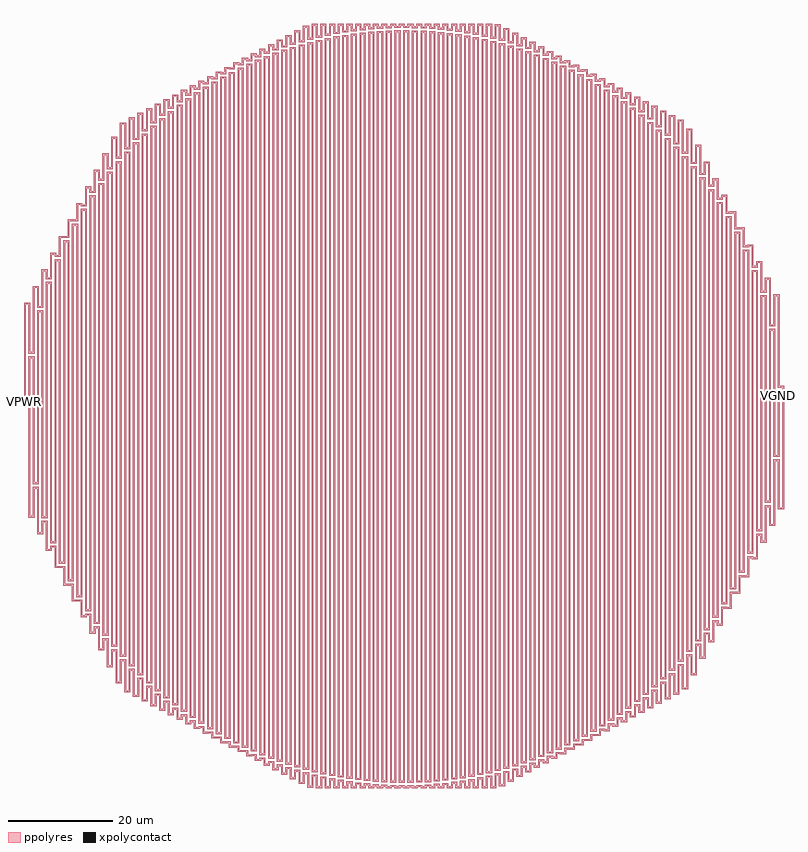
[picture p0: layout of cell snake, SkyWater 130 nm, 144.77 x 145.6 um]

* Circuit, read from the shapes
.subckt snake VPWR VGND VOUT
XR1 VOUT VPWR VSUBS sky130_fd_pr__res_high_po w=0.35 l=1043.77
XR2 VGND VOUT VSUBS sky130_fd_pr__res_high_po w=0.35 l=19520.335
.ends

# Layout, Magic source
magic
tech sky130A
magscale 1 2
<< xpolycontact >>
rect 59 22541 129 22973
rect 225 22541 295 22973
rect 28777 22772 28847 23204
<< ppolyres >>
rect 11015 37088 11251 37158
rect 10683 37010 10919 37080
rect 10351 36836 10587 36906
rect 10019 36661 10255 36731
rect 9687 36487 9923 36557
rect 9355 36313 9591 36383
rect 9023 36138 9259 36208
rect 8691 35964 8927 36034
rect 8359 35808 8595 35860
rect 8691 35808 8761 35964
rect 8857 35953 8927 35964
rect 9023 35953 9093 36138
rect 9189 36087 9259 36138
rect 9355 36087 9425 36313
rect 9521 36213 9591 36313
rect 9687 36213 9757 36487
rect 9853 36329 9923 36487
rect 10019 36329 10089 36661
rect 10185 36436 10255 36661
rect 10351 36436 10421 36836
rect 10517 36534 10587 36836
rect 10683 36534 10753 37010
rect 10849 36623 10919 37010
rect 11015 36623 11085 37088
rect 11181 36704 11251 37088
rect 11347 37088 11583 37158
rect 11347 36704 11417 37088
rect 11513 36777 11583 37088
rect 11679 37088 11915 37158
rect 11679 36777 11749 37088
rect 11513 36707 11749 36777
rect 11845 36842 11915 37088
rect 12011 37088 12247 37158
rect 12011 36842 12081 37088
rect 11845 36772 12081 36842
rect 12177 36898 12247 37088
rect 12343 37088 12579 37158
rect 12343 36898 12413 37088
rect 12177 36828 12413 36898
rect 12509 36947 12579 37088
rect 12675 37088 12911 37158
rect 12675 36947 12745 37088
rect 12509 36877 12745 36947
rect 12841 36987 12911 37088
rect 13007 37088 13243 37158
rect 13007 36987 13077 37088
rect 12841 36917 13077 36987
rect 13173 37020 13243 37088
rect 13339 37088 13575 37158
rect 13339 37020 13409 37088
rect 13173 36950 13409 37020
rect 13505 37045 13575 37088
rect 13671 37088 13907 37158
rect 13671 37045 13741 37088
rect 13505 36975 13741 37045
rect 13837 37063 13907 37088
rect 14003 37088 14239 37158
rect 14003 37063 14073 37088
rect 13837 36993 14073 37063
rect 14169 37072 14239 37088
rect 14335 37088 14571 37158
rect 14335 37072 14405 37088
rect 14169 37002 14405 37072
rect 14501 37074 14571 37088
rect 14667 37088 14903 37158
rect 14667 37074 14737 37088
rect 14501 37004 14737 37074
rect 14833 37068 14903 37088
rect 14999 37088 15235 37158
rect 14999 37068 15069 37088
rect 14833 36998 15069 37068
rect 15165 37055 15235 37088
rect 15331 37088 15567 37158
rect 15331 37055 15401 37088
rect 15165 36985 15401 37055
rect 15497 37034 15567 37088
rect 15663 37088 15899 37158
rect 15663 37034 15733 37088
rect 15497 36964 15733 37034
rect 15829 37005 15899 37088
rect 15995 37088 16231 37158
rect 15995 37005 16065 37088
rect 15829 36935 16065 37005
rect 16161 36968 16231 37088
rect 16327 37088 16563 37158
rect 16327 36968 16397 37088
rect 11181 36634 11417 36704
rect 10849 36553 11085 36623
rect 11513 36541 11749 36611
rect 10517 36464 10753 36534
rect 11181 36468 11417 36538
rect 10185 36366 10421 36436
rect 10849 36387 11085 36457
rect 9853 36259 10089 36329
rect 10517 36298 10753 36368
rect 9521 36143 9757 36213
rect 10185 36200 10421 36270
rect 9189 36017 9425 36087
rect 9853 36093 10089 36163
rect 8857 35883 9093 35953
rect 9521 35977 9757 36047
rect 8359 35790 8761 35808
rect 8027 35653 8263 35686
rect 8359 35653 8429 35790
rect 8525 35738 8761 35790
rect 9189 35851 9425 35921
rect 8027 35616 8429 35653
rect 8857 35717 9093 35787
rect 7695 35488 7931 35511
rect 8027 35488 8097 35616
rect 8193 35583 8429 35616
rect 7695 35441 8097 35488
rect 8525 35572 8761 35642
rect 7363 35312 7599 35337
rect 7695 35312 7765 35441
rect 7861 35418 8097 35441
rect 8193 35417 8429 35487
rect 7363 35267 7765 35312
rect 7031 35124 7267 35163
rect 7363 35124 7433 35267
rect 7529 35242 7765 35267
rect 7861 35252 8097 35322
rect 7031 35093 7433 35124
rect 6699 34925 6935 34988
rect 7031 34925 7101 35093
rect 7197 35054 7433 35093
rect 7529 35076 7765 35146
rect 6699 34918 7101 34925
rect 6367 34744 6603 34814
rect 6035 34570 6271 34640
rect 5703 34395 5939 34465
rect 5371 34221 5607 34291
rect 5039 34047 5275 34117
rect 4707 33873 4943 33943
rect 4375 33698 4611 33768
rect 4043 33524 4279 33594
rect 3711 33323 3947 33393
rect 3379 32789 3615 32859
rect 3047 32157 3283 32227
rect 2715 31525 2951 31595
rect 2383 30892 2619 30962
rect 2051 30272 2287 30330
rect 2383 30272 2453 30892
rect 2549 30785 2619 30892
rect 2715 30785 2785 31525
rect 2881 31254 2951 31525
rect 3047 31254 3117 32157
rect 3213 31686 3283 32157
rect 3379 31686 3449 32789
rect 3545 32086 3615 32789
rect 3711 32086 3781 33323
rect 3877 32459 3947 33323
rect 4043 32459 4113 33524
rect 4209 32807 4279 33524
rect 4375 32807 4445 33698
rect 4541 33132 4611 33698
rect 4707 33132 4777 33873
rect 4873 33438 4943 33873
rect 5039 33438 5109 34047
rect 5205 33725 5275 34047
rect 5371 33725 5441 34221
rect 5537 33994 5607 34221
rect 5703 33994 5773 34395
rect 5869 34248 5939 34395
rect 6035 34248 6105 34570
rect 6201 34488 6271 34570
rect 6367 34488 6437 34744
rect 6533 34713 6603 34744
rect 6699 34713 6769 34918
rect 6865 34855 7101 34918
rect 7197 34888 7433 34958
rect 6533 34643 6769 34713
rect 6865 34689 7101 34759
rect 6201 34418 6437 34488
rect 6533 34477 6769 34547
rect 5869 34178 6105 34248
rect 6201 34252 6437 34322
rect 5537 33924 5773 33994
rect 5869 34012 6105 34082
rect 5205 33655 5441 33725
rect 5537 33758 5773 33828
rect 4873 33368 5109 33438
rect 5205 33489 5441 33559
rect 4541 33062 4777 33132
rect 4873 33202 5109 33272
rect 4209 32737 4445 32807
rect 4541 32896 4777 32966
rect 3877 32389 4113 32459
rect 4209 32571 4445 32641
rect 3545 32016 3781 32086
rect 3877 32223 4113 32293
rect 3213 31616 3449 31686
rect 3545 31850 3781 31920
rect 2881 31184 3117 31254
rect 3213 31450 3449 31520
rect 2549 30715 2785 30785
rect 2881 31018 3117 31088
rect 2051 30260 2453 30272
rect 2051 29706 2121 30260
rect 2217 30202 2453 30260
rect 2549 30549 2785 30619
rect 1719 29636 2121 29706
rect 2217 30036 2453 30106
rect 1719 29073 1789 29636
rect 1387 29003 1789 29073
rect 1885 29470 2121 29540
rect 1055 28363 1291 28433
rect 723 27730 959 27800
rect 391 27098 627 27168
rect 59 26466 295 26536
rect 59 22973 129 26466
rect 225 24658 295 26466
rect 391 24658 461 27098
rect 557 26407 627 27098
rect 723 26407 793 27730
rect 889 27491 959 27730
rect 1055 27491 1125 28363
rect 1221 28348 1291 28363
rect 1387 28348 1457 29003
rect 1221 28278 1457 28348
rect 1553 28837 1789 28907
rect 889 27421 1125 27491
rect 1221 28112 1457 28182
rect 557 26337 793 26407
rect 889 27255 1125 27325
rect 225 24588 461 24658
rect 557 26171 793 26241
rect 225 24422 461 24492
rect 225 22973 295 24422
rect 225 18414 295 22541
rect 391 19689 461 24422
rect 557 19689 627 26171
rect 391 19619 627 19689
rect 391 19453 627 19523
rect 391 18414 461 19453
rect 225 18344 461 18414
rect 557 17782 627 19453
rect 723 18400 793 26171
rect 889 18400 959 27255
rect 723 18330 959 18400
rect 723 18164 959 18234
rect 723 17782 793 18164
rect 557 17712 793 17782
rect 889 17149 959 18164
rect 1055 17448 1125 27255
rect 1221 17448 1291 28112
rect 1055 17378 1291 17448
rect 1055 17212 1291 17282
rect 1055 17149 1125 17212
rect 889 17079 1125 17149
rect 1221 16498 1291 17212
rect 1387 16664 1457 28112
rect 1553 16664 1623 28837
rect 1387 16594 1623 16664
rect 1221 16428 1623 16498
rect 1553 15823 1623 16428
rect 1719 15989 1789 28837
rect 1885 15989 1955 29470
rect 1719 15919 1955 15989
rect 1553 15753 1955 15823
rect 1885 15225 1955 15753
rect 2051 15391 2121 29470
rect 2217 15391 2287 30036
rect 2051 15321 2287 15391
rect 1885 15155 2287 15225
rect 2217 14620 2287 15155
rect 2383 14853 2453 30036
rect 2549 14853 2619 30549
rect 2383 14783 2619 14853
rect 2383 14620 2619 14687
rect 2217 14617 2619 14620
rect 2217 14550 2453 14617
rect 2549 13988 2619 14617
rect 2715 14364 2785 30549
rect 2881 14364 2951 31018
rect 2715 14294 2951 14364
rect 2715 14128 2951 14198
rect 2715 13988 2785 14128
rect 2549 13918 2785 13988
rect 2881 13355 2951 14128
rect 3047 13914 3117 31018
rect 3213 13914 3283 31450
rect 3047 13844 3283 13914
rect 3047 13678 3283 13748
rect 3047 13355 3117 13678
rect 2881 13285 3117 13355
rect 3213 12723 3283 13678
rect 3379 13498 3449 31450
rect 3545 13498 3615 31850
rect 3379 13428 3615 13498
rect 3379 13262 3615 13332
rect 3379 12723 3449 13262
rect 3213 12653 3449 12723
rect 3545 12096 3615 13262
rect 3711 13112 3781 31850
rect 3877 13112 3947 32223
rect 3711 13042 3947 13112
rect 3711 12876 3947 12946
rect 3711 12096 3781 12876
rect 3545 12026 3781 12096
rect 3877 11759 3947 12876
rect 4043 12753 4113 32223
rect 4209 12753 4279 32571
rect 4043 12683 4279 12753
rect 4043 12517 4279 12587
rect 4043 11759 4113 12517
rect 3877 11689 4113 11759
rect 4209 11585 4279 12517
rect 4375 12416 4445 32571
rect 4541 12416 4611 32896
rect 4375 12346 4611 12416
rect 4375 12180 4611 12250
rect 4375 11585 4445 12180
rect 4209 11515 4445 11585
rect 4541 11411 4611 12180
rect 4707 12101 4777 32896
rect 4873 12101 4943 33202
rect 4707 12031 4943 12101
rect 4707 11865 4943 11935
rect 4707 11411 4777 11865
rect 4541 11341 4777 11411
rect 4873 11236 4943 11865
rect 5039 11805 5109 33202
rect 5205 11805 5275 33489
rect 5039 11735 5275 11805
rect 5039 11569 5275 11639
rect 5039 11236 5109 11569
rect 4873 11166 5109 11236
rect 5205 11062 5275 11569
rect 5371 11526 5441 33489
rect 5537 11526 5607 33758
rect 5371 11456 5607 11526
rect 5371 11290 5607 11360
rect 5371 11062 5441 11290
rect 5205 10992 5441 11062
rect 5537 10888 5607 11290
rect 5703 11265 5773 33758
rect 5869 11265 5939 34012
rect 5703 11195 5939 11265
rect 5703 11029 5939 11099
rect 5703 10888 5773 11029
rect 5537 10818 5773 10888
rect 5869 10713 5939 11029
rect 6035 11018 6105 34012
rect 6201 11018 6271 34252
rect 6035 10948 6271 11018
rect 6035 10782 6271 10852
rect 6035 10713 6105 10782
rect 5869 10643 6105 10713
rect 6201 10539 6271 10782
rect 6367 10786 6437 34252
rect 6533 10786 6603 34477
rect 6367 10716 6603 10786
rect 6367 10550 6603 10620
rect 6367 10539 6437 10550
rect 6201 10469 6437 10539
rect 6533 10365 6603 10550
rect 6699 10568 6769 34477
rect 6865 10568 6935 34689
rect 6699 10498 6935 10568
rect 6699 10365 6935 10402
rect 6533 10332 6935 10365
rect 6533 10295 6769 10332
rect 6865 10190 6935 10332
rect 7031 10362 7101 34689
rect 7197 10362 7267 34888
rect 7031 10292 7267 10362
rect 7031 10190 7267 10196
rect 6865 10126 7267 10190
rect 6865 10120 7101 10126
rect 7197 10002 7267 10126
rect 7363 10168 7433 34888
rect 7529 10168 7599 35076
rect 7363 10098 7599 10168
rect 7197 9932 7599 10002
rect 7529 9821 7599 9932
rect 7695 9987 7765 35076
rect 7861 9987 7931 35252
rect 7695 9917 7931 9987
rect 7529 9751 7931 9821
rect 7861 9650 7931 9751
rect 8027 9816 8097 35252
rect 8193 9816 8263 35417
rect 8027 9746 8263 9816
rect 8359 9656 8429 35417
rect 8525 9656 8595 35572
rect 7861 9580 8263 9650
rect 8359 9586 8595 9656
rect 8193 9490 8263 9580
rect 8691 9506 8761 35572
rect 8857 9506 8927 35717
rect 8193 9420 8595 9490
rect 8691 9436 8927 9506
rect 8525 9319 8595 9420
rect 9023 9367 9093 35717
rect 9189 9367 9259 35851
rect 8691 9319 8927 9340
rect 8525 9270 8927 9319
rect 9023 9297 9259 9367
rect 8525 9249 8761 9270
rect 8857 9145 8927 9270
rect 9355 9237 9425 35851
rect 9521 9237 9591 35977
rect 9023 9145 9259 9201
rect 9355 9167 9591 9237
rect 8857 9131 9259 9145
rect 8857 9075 9093 9131
rect 9189 8970 9259 9131
rect 9687 9116 9757 35977
rect 9853 9116 9923 36093
rect 9355 9001 9591 9071
rect 9687 9046 9923 9116
rect 9355 8970 9425 9001
rect 9189 8900 9425 8970
rect 9521 8796 9591 9001
rect 10019 9005 10089 36093
rect 10185 9005 10255 36200
rect 9687 8880 9923 8950
rect 10019 8935 10255 9005
rect 9687 8796 9757 8880
rect 9521 8726 9757 8796
rect 9853 8622 9923 8880
rect 10351 8902 10421 36200
rect 10517 8902 10587 36298
rect 10019 8769 10255 8839
rect 10351 8832 10587 8902
rect 10019 8622 10089 8769
rect 9853 8552 10089 8622
rect 10185 8447 10255 8769
rect 10683 8808 10753 36298
rect 10849 8808 10919 36387
rect 10683 8738 10919 8808
rect 10351 8666 10587 8736
rect 10351 8447 10421 8666
rect 10185 8377 10421 8447
rect 10517 8273 10587 8666
rect 11015 8723 11085 36387
rect 11181 8723 11251 36468
rect 11015 8653 11251 8723
rect 11347 8646 11417 36468
rect 11513 8646 11583 36541
rect 10683 8572 10919 8642
rect 11347 8576 11583 8646
rect 11679 8578 11749 36541
rect 11845 36606 12081 36676
rect 11845 8578 11915 36606
rect 10683 8273 10753 8572
rect 10517 8203 10753 8273
rect 10849 8125 10919 8572
rect 11015 8487 11251 8557
rect 11679 8508 11915 8578
rect 12011 8517 12081 36606
rect 12177 36662 12413 36732
rect 12177 8517 12247 36662
rect 11015 8125 11085 8487
rect 10849 8055 11085 8125
rect 11181 8108 11251 8487
rect 11347 8410 11583 8480
rect 12011 8447 12247 8517
rect 12343 8465 12413 36662
rect 12509 36711 12745 36781
rect 12509 8465 12579 36711
rect 11347 8108 11417 8410
rect 11181 8038 11417 8108
rect 11513 8108 11583 8410
rect 11679 8342 11915 8412
rect 12343 8395 12579 8465
rect 12675 8420 12745 36711
rect 12841 36751 13077 36821
rect 12841 8420 12911 36751
rect 11679 8108 11749 8342
rect 11513 8038 11749 8108
rect 11845 8108 11915 8342
rect 12011 8281 12247 8351
rect 12675 8350 12911 8420
rect 13007 8383 13077 36751
rect 13173 36784 13409 36854
rect 13173 8383 13243 36784
rect 13007 8313 13243 8383
rect 13339 8354 13409 36784
rect 13505 36809 13741 36879
rect 13505 8354 13575 36809
rect 12011 8108 12081 8281
rect 11845 8038 12081 8108
rect 12177 8108 12247 8281
rect 12343 8229 12579 8299
rect 13339 8284 13575 8354
rect 13671 8333 13741 36809
rect 13837 36827 14073 36897
rect 13837 8333 13907 36827
rect 13671 8263 13907 8333
rect 14003 8320 14073 36827
rect 14169 36836 14405 36906
rect 14169 8320 14239 36836
rect 12343 8108 12413 8229
rect 12177 8038 12413 8108
rect 12509 8108 12579 8229
rect 12675 8184 12911 8254
rect 14003 8250 14239 8320
rect 14335 8314 14405 36836
rect 14501 36838 14737 36908
rect 14501 8314 14571 36838
rect 14335 8244 14571 8314
rect 14667 8316 14737 36838
rect 14833 36832 15069 36902
rect 16161 36898 16397 36968
rect 16493 36923 16563 37088
rect 16659 37088 16895 37158
rect 16659 36923 16729 37088
rect 14833 8316 14903 36832
rect 14667 8246 14903 8316
rect 14999 8325 15069 36832
rect 15165 36819 15401 36889
rect 15165 8325 15235 36819
rect 14999 8255 15235 8325
rect 15331 8343 15401 36819
rect 15497 36798 15733 36868
rect 16493 36853 16729 36923
rect 16825 36871 16895 37088
rect 16991 37088 17227 37158
rect 16991 36871 17061 37088
rect 15497 8343 15567 36798
rect 15331 8273 15567 8343
rect 15663 8368 15733 36798
rect 15829 36769 16065 36839
rect 15829 8368 15899 36769
rect 15663 8298 15899 8368
rect 15995 8401 16065 36769
rect 16161 36732 16397 36802
rect 16825 36801 17061 36871
rect 17157 36810 17227 37088
rect 17323 37088 17559 37158
rect 17323 36810 17393 37088
rect 16161 8401 16231 36732
rect 15995 8331 16231 8401
rect 16327 8441 16397 36732
rect 16493 36687 16729 36757
rect 17157 36740 17393 36810
rect 17489 36742 17559 37088
rect 17655 37088 17891 37158
rect 17655 36742 17725 37088
rect 16493 8441 16563 36687
rect 16327 8371 16563 8441
rect 16659 8490 16729 36687
rect 16825 36635 17061 36705
rect 17489 36672 17725 36742
rect 17821 36665 17891 37088
rect 17987 37071 18223 37141
rect 17987 36665 18057 37071
rect 16825 8490 16895 36635
rect 16659 8420 16895 8490
rect 16991 8546 17061 36635
rect 17157 36574 17393 36644
rect 17821 36595 18057 36665
rect 18153 36580 18223 37071
rect 18319 36923 18555 36993
rect 18319 36580 18389 36923
rect 17157 8546 17227 36574
rect 16991 8476 17227 8546
rect 17323 8611 17393 36574
rect 17489 36506 17725 36576
rect 18153 36510 18389 36580
rect 17489 8611 17559 36506
rect 17655 8684 17725 36506
rect 17821 36429 18057 36499
rect 17821 8684 17891 36429
rect 17987 8765 18057 36429
rect 18485 36486 18555 36923
rect 18651 36749 18887 36819
rect 18651 36486 18721 36749
rect 18485 36416 18721 36486
rect 18153 36344 18389 36414
rect 18153 8765 18223 36344
rect 18319 8854 18389 36344
rect 18817 36383 18887 36749
rect 18983 36574 19219 36644
rect 18983 36383 19053 36574
rect 18485 36250 18721 36320
rect 18817 36313 19053 36383
rect 18485 8854 18555 36250
rect 18651 8952 18721 36250
rect 19149 36272 19219 36574
rect 19315 36400 19551 36470
rect 19315 36272 19385 36400
rect 18817 36147 19053 36217
rect 19149 36202 19385 36272
rect 18817 8952 18887 36147
rect 18983 9059 19053 36147
rect 19481 36151 19551 36400
rect 19647 36226 19883 36296
rect 19647 36151 19717 36226
rect 19149 36036 19385 36106
rect 19481 36081 19717 36151
rect 19149 9059 19219 36036
rect 19315 9175 19385 36036
rect 19813 36021 19883 36226
rect 19979 36051 20215 36121
rect 19979 36021 20049 36051
rect 19481 35915 19717 35985
rect 19813 35951 20049 36021
rect 19481 9175 19551 35915
rect 19647 9301 19717 35915
rect 20145 35882 20215 36051
rect 20311 35882 20547 35947
rect 20145 35877 20547 35882
rect 19813 35785 20049 35855
rect 20145 35812 20381 35877
rect 19813 9301 19883 35785
rect 19979 9435 20049 35785
rect 20477 35732 20547 35877
rect 20643 35732 20879 35773
rect 20145 35646 20381 35716
rect 20477 35703 20879 35732
rect 20477 35662 20713 35703
rect 20145 9435 20215 35646
rect 20311 9580 20381 35646
rect 20809 35572 20879 35703
rect 20975 35572 21211 35598
rect 20477 35496 20713 35566
rect 20809 35528 21211 35572
rect 20809 35502 21045 35528
rect 20477 9580 20547 35496
rect 20643 9735 20713 35496
rect 20809 35336 21045 35406
rect 20809 9735 20879 35336
rect 20975 9900 21045 35336
rect 21141 35401 21211 35528
rect 21307 35401 21543 35424
rect 21141 35354 21543 35401
rect 21141 35331 21377 35354
rect 21141 35165 21377 35235
rect 21141 9900 21211 35165
rect 21307 10076 21377 35165
rect 21473 35220 21543 35354
rect 21639 35220 21875 35250
rect 21473 35180 21875 35220
rect 21473 35150 21709 35180
rect 21473 34984 21709 35054
rect 21473 10076 21543 34984
rect 21639 10264 21709 34984
rect 21805 35026 21875 35180
rect 21971 35026 22207 35076
rect 21805 35006 22207 35026
rect 21805 34956 22041 35006
rect 21805 34790 22041 34860
rect 21805 10264 21875 34790
rect 21971 10463 22041 34790
rect 22137 34820 22207 35006
rect 22303 34831 22539 34901
rect 22303 34820 22373 34831
rect 22137 34750 22373 34820
rect 22137 34584 22373 34654
rect 22137 10463 22207 34584
rect 22303 10675 22373 34584
rect 22469 34602 22539 34831
rect 22635 34657 22871 34727
rect 22635 34602 22705 34657
rect 22469 34532 22705 34602
rect 22469 34366 22705 34436
rect 22469 10675 22539 34366
rect 22635 10900 22705 34366
rect 22801 34370 22871 34657
rect 22967 34483 23203 34553
rect 22967 34370 23037 34483
rect 22801 34300 23037 34370
rect 22801 34134 23037 34204
rect 22801 10900 22871 34134
rect 22967 11140 23037 34134
rect 23133 34123 23203 34483
rect 23299 34308 23535 34378
rect 23299 34123 23369 34308
rect 23133 34053 23369 34123
rect 23133 33887 23369 33957
rect 23133 11140 23203 33887
rect 23299 11394 23369 33887
rect 23465 33862 23535 34308
rect 23631 34134 23867 34204
rect 23631 33862 23701 34134
rect 23465 33792 23701 33862
rect 23465 33626 23701 33696
rect 23465 11394 23535 33626
rect 23631 11663 23701 33626
rect 23797 33583 23867 34134
rect 23963 33960 24199 34030
rect 23963 33583 24033 33960
rect 23797 33513 24033 33583
rect 23797 33347 24033 33417
rect 23797 11663 23867 33347
rect 23963 11950 24033 33347
rect 24129 33287 24199 33960
rect 24295 33785 24531 33855
rect 24295 33287 24365 33785
rect 24129 33217 24365 33287
rect 24129 33051 24365 33121
rect 24129 11950 24199 33051
rect 24295 12256 24365 33051
rect 24461 32972 24531 33785
rect 24627 33611 24863 33681
rect 24627 32972 24697 33611
rect 24461 32902 24697 32972
rect 24461 32736 24697 32806
rect 24461 12256 24531 32736
rect 24627 12581 24697 32736
rect 24793 32635 24863 33611
rect 24959 33437 25195 33507
rect 24959 32635 25029 33437
rect 24793 32565 25029 32635
rect 24793 32399 25029 32469
rect 24793 12581 24863 32399
rect 24959 12929 25029 32399
rect 25125 32276 25195 33437
rect 25291 33100 25527 33170
rect 25291 32276 25361 33100
rect 25125 32206 25361 32276
rect 25125 32040 25361 32110
rect 25125 12929 25195 32040
rect 25291 13302 25361 32040
rect 25457 31890 25527 33100
rect 25623 32473 25859 32543
rect 25623 31890 25693 32473
rect 25457 31820 25693 31890
rect 25457 31654 25693 31724
rect 25457 13302 25527 31654
rect 25623 13702 25693 31654
rect 25789 31474 25859 32473
rect 25955 31841 26191 31911
rect 25955 31474 26025 31841
rect 25789 31404 26025 31474
rect 25789 31238 26025 31308
rect 25789 13702 25859 31238
rect 25955 14134 26025 31238
rect 26121 31024 26191 31841
rect 26287 31208 26523 31278
rect 26287 31024 26357 31208
rect 26121 30954 26357 31024
rect 26121 30788 26357 30858
rect 26121 14134 26191 30788
rect 26287 14603 26357 30788
rect 26453 30535 26523 31208
rect 26619 30576 26855 30646
rect 26619 30535 26689 30576
rect 26453 30465 26689 30535
rect 26453 30299 26689 30369
rect 26453 14603 26523 30299
rect 26619 15116 26689 30299
rect 26785 29997 26855 30576
rect 26951 29997 27187 30014
rect 26785 29944 27187 29997
rect 26785 29927 27021 29944
rect 26785 29761 27021 29831
rect 26785 15116 26855 29761
rect 26951 15682 27021 29761
rect 27117 29399 27187 29944
rect 27117 29329 27519 29399
rect 27117 29163 27353 29233
rect 27117 15682 27187 29163
rect 27283 16315 27353 29163
rect 27449 28724 27519 29329
rect 27615 28724 27851 28749
rect 27449 28679 27851 28724
rect 27449 28654 27685 28679
rect 27449 28488 27685 28558
rect 27449 16315 27519 28488
rect 27615 17040 27685 28488
rect 27781 27940 27851 28679
rect 27947 28047 28183 28117
rect 27947 27940 28017 28047
rect 27781 27870 28017 27940
rect 27781 27704 28017 27774
rect 27781 17040 27851 27704
rect 27947 17897 28017 27704
rect 28113 26988 28183 28047
rect 28279 27414 28515 27484
rect 28279 26988 28349 27414
rect 28113 26918 28349 26988
rect 28113 26752 28349 26822
rect 28113 17897 28183 26752
rect 28279 18981 28349 26752
rect 28445 25699 28515 27414
rect 28611 26782 28847 26852
rect 28611 25699 28681 26782
rect 28445 25629 28681 25699
rect 28445 25463 28681 25533
rect 28445 18981 28515 25463
rect 28611 20730 28681 25463
rect 28777 23370 28847 26782
rect 28777 23300 29013 23370
rect 28777 20730 28847 22772
rect 28611 20660 28847 20730
rect 28279 18911 28515 18981
rect 28611 20494 28847 20564
rect 27947 17827 28183 17897
rect 28279 18745 28515 18815
rect 27615 16970 27851 17040
rect 27947 17661 28183 17731
rect 27283 16245 27519 16315
rect 27615 16833 27851 16874
rect 27947 16833 28017 17661
rect 28113 17466 28183 17661
rect 28279 17466 28349 18745
rect 28445 18098 28515 18745
rect 28611 18098 28681 20494
rect 28777 18730 28847 20494
rect 28943 18730 29013 23300
rect 28777 18660 29013 18730
rect 28445 18028 28681 18098
rect 28113 17396 28349 17466
rect 27615 16804 28017 16833
rect 27615 16149 27685 16804
rect 27781 16763 28017 16804
rect 26951 15612 27187 15682
rect 27283 16079 27685 16149
rect 27283 15516 27353 16079
rect 26619 15046 26855 15116
rect 26951 15446 27353 15516
rect 26287 14533 26523 14603
rect 26619 14936 26855 14950
rect 26951 14936 27021 15446
rect 26619 14880 27021 14936
rect 25955 14064 26191 14134
rect 26287 14367 26523 14437
rect 25623 13632 25859 13702
rect 25955 13898 26191 13968
rect 25291 13232 25527 13302
rect 25623 13466 25859 13536
rect 24959 12859 25195 12929
rect 25291 13066 25527 13136
rect 24627 12511 24863 12581
rect 24959 12693 25195 12763
rect 24295 12186 24531 12256
rect 24627 12345 24863 12415
rect 23963 11880 24199 11950
rect 24295 12020 24531 12090
rect 23631 11593 23867 11663
rect 23963 11714 24199 11784
rect 23299 11324 23535 11394
rect 23631 11427 23867 11497
rect 22967 11070 23203 11140
rect 23299 11158 23535 11228
rect 22635 10830 22871 10900
rect 22967 10904 23203 10974
rect 22303 10605 22539 10675
rect 22635 10664 22871 10734
rect 21971 10393 22207 10463
rect 22303 10452 22539 10509
rect 22635 10452 22705 10664
rect 22801 10626 22871 10664
rect 22967 10626 23037 10904
rect 23133 10801 23203 10904
rect 23299 10801 23369 11158
rect 23465 10975 23535 11158
rect 23631 10975 23701 11427
rect 23797 11149 23867 11427
rect 23963 11149 24033 11714
rect 24129 11323 24199 11714
rect 24295 11323 24365 12020
rect 24461 11498 24531 12020
rect 24627 11498 24697 12345
rect 24793 11672 24863 12345
rect 24959 11672 25029 12693
rect 25125 11873 25195 12693
rect 25291 11873 25361 13066
rect 25457 12407 25527 13066
rect 25623 12407 25693 13466
rect 25789 13039 25859 13466
rect 25955 13039 26025 13898
rect 26121 13671 26191 13898
rect 26287 13671 26357 14367
rect 26453 14304 26523 14367
rect 26619 14304 26689 14880
rect 26785 14866 27021 14880
rect 26453 14234 26689 14304
rect 26121 13601 26357 13671
rect 25789 12969 26025 13039
rect 25457 12337 25693 12407
rect 25125 11803 25361 11873
rect 24793 11602 25029 11672
rect 24461 11428 24697 11498
rect 24129 11253 24365 11323
rect 23797 11079 24033 11149
rect 23465 10905 23701 10975
rect 23133 10731 23369 10801
rect 22801 10556 23037 10626
rect 22303 10439 22705 10452
rect 21639 10194 21875 10264
rect 21971 10278 22207 10297
rect 22303 10278 22373 10439
rect 22469 10382 22705 10439
rect 21971 10227 22373 10278
rect 21971 10098 22041 10227
rect 22137 10208 22373 10227
rect 21307 10006 21543 10076
rect 21639 10028 22041 10098
rect 21639 9910 21709 10028
rect 20975 9830 21211 9900
rect 21307 9840 21709 9910
rect 20643 9665 20879 9735
rect 21307 9734 21377 9840
rect 20311 9510 20547 9580
rect 20975 9664 21377 9734
rect 20975 9569 21045 9664
rect 19979 9365 20215 9435
rect 20643 9499 21045 9569
rect 20311 9406 20547 9414
rect 20643 9406 20713 9499
rect 19647 9231 19883 9301
rect 20311 9344 20713 9406
rect 19979 9232 20215 9269
rect 20311 9232 20381 9344
rect 20477 9336 20713 9344
rect 19315 9105 19551 9175
rect 19979 9199 20381 9232
rect 18983 8989 19219 9059
rect 19647 9065 19883 9135
rect 18651 8882 18887 8952
rect 19315 8939 19551 9009
rect 18319 8784 18555 8854
rect 18983 8823 19219 8893
rect 17987 8695 18223 8765
rect 18651 8716 18887 8786
rect 17655 8614 17891 8684
rect 18319 8618 18555 8688
rect 17323 8541 17559 8611
rect 17987 8529 18223 8599
rect 17655 8448 17891 8518
rect 12675 8108 12745 8184
rect 12509 8038 12745 8108
rect 12841 8108 12911 8184
rect 13007 8147 13243 8217
rect 13007 8108 13077 8147
rect 12841 8038 13077 8108
rect 13173 8108 13243 8147
rect 13339 8118 13575 8188
rect 13339 8108 13409 8118
rect 13173 8038 13409 8108
rect 13505 8108 13575 8118
rect 13671 8108 13907 8167
rect 14003 8108 14239 8154
rect 14335 8108 14571 8148
rect 14667 8108 14903 8150
rect 14999 8108 15235 8159
rect 15331 8108 15567 8177
rect 15663 8132 15899 8202
rect 15663 8108 15733 8132
rect 13505 8107 15733 8108
rect 13505 8097 15401 8107
rect 13505 8038 13741 8097
rect 13837 8089 15401 8097
rect 13837 8084 15069 8089
rect 13837 8038 14073 8084
rect 14169 8080 15069 8084
rect 14169 8078 14737 8080
rect 14169 8038 14405 8078
rect 14501 8038 14737 8078
rect 14833 8038 15069 8080
rect 15165 8038 15401 8089
rect 15497 8038 15733 8107
rect 15829 8108 15899 8132
rect 15995 8165 16231 8235
rect 15995 8108 16065 8165
rect 15829 8038 16065 8108
rect 16161 8108 16231 8165
rect 16327 8205 16563 8275
rect 16327 8108 16397 8205
rect 16161 8038 16397 8108
rect 16493 8108 16563 8205
rect 16659 8254 16895 8324
rect 16659 8108 16729 8254
rect 16493 8038 16729 8108
rect 16825 8108 16895 8254
rect 16991 8310 17227 8380
rect 16991 8108 17061 8310
rect 16825 8038 17061 8108
rect 17157 8108 17227 8310
rect 17323 8375 17559 8445
rect 17323 8108 17393 8375
rect 17157 8038 17393 8108
rect 17489 8108 17559 8375
rect 17655 8108 17725 8448
rect 17489 8038 17725 8108
rect 17821 8108 17891 8448
rect 17987 8108 18057 8529
rect 18153 8186 18223 8529
rect 18319 8186 18389 8618
rect 18485 8360 18555 8618
rect 18651 8360 18721 8716
rect 18817 8535 18887 8716
rect 18983 8535 19053 8823
rect 19149 8709 19219 8823
rect 19315 8709 19385 8939
rect 19481 8883 19551 8939
rect 19647 8883 19717 9065
rect 19813 9058 19883 9065
rect 19979 9058 20049 9199
rect 20145 9162 20381 9199
rect 19813 8988 20049 9058
rect 19481 8813 19717 8883
rect 19149 8639 19385 8709
rect 18817 8465 19053 8535
rect 18485 8290 18721 8360
rect 18153 8116 18389 8186
rect 17821 8038 18057 8108
<< labels >>
flabel xpolycontact 59 22541 129 22973 0 FreeSans 400 90 0 0 VPWR
port 1 nsew power bidirectional
flabel xpolycontact 28777 22772 28847 23204 0 FreeSans 400 90 0 0 VGND
port 2 nsew ground bidirectional
flabel xpolycontact 225 22541 295 22973 0 FreeSans 400 90 0 0 VOUT
port 3 nsew analog bidirectional
<< end >>
